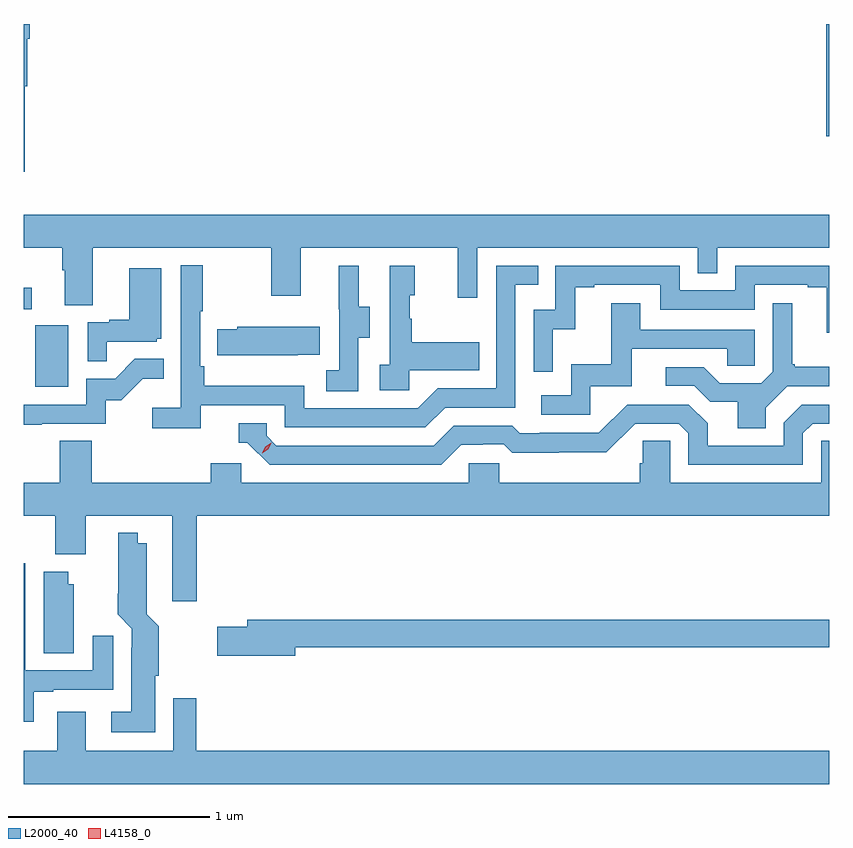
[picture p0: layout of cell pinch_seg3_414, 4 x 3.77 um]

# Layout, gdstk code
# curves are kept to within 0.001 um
import gdstk
lib = gdstk.Library(unit=1e-6, precision=1e-09)
def R(c, l, rs):  # rectangles x0, y0, x1, y1
    for r in rs: c.add(gdstk.rectangle(r[:2], r[2:], *l))
def P(c, l, *ps):  # polygons
    for p in ps: c.add(gdstk.Polygon(p, *l))
L2000_40 = (2000, 40)
L4158_0 = (4158, 0)

pinch_seg3_414 = lib.new_cell('pinch_seg3_414')
R(pinch_seg3_414, L2000_40, [(932.774,701.556,932.938,701.863), (932.718,701.943,932.758,702.049), (936.704,702.801,936.718,703.359)])
P(pinch_seg3_414, L2000_40, [(932.722,703.05),(932.734,703.05),(932.734,703.286),(932.747,703.286),(932.747,703.359),(932.718,703.359),(932.718,702.624),(932.722,702.624)],
  [(933.061,702.248),(933.946,702.248),(933.946,702.009),(934.093,702.009),(934.093,702.248),(934.874,702.248),(934.874,702),(934.971,702),(934.971,702.248),(936.066,702.248),(936.066,702.121),(936.162,702.121),(936.162,702.248),(936.718,702.248),(936.718,702.412),(932.718,702.412),(932.718,702.248),(932.909,702.248),(932.909,702.136),(932.921,702.136),(932.921,701.962),(933.061,701.962)],
  [(933.596,701.466),(934.014,701.466),(934.014,701.355),(934.711,701.355),(934.81,701.454),(935.16,701.454),(935.16,702.063),(935.273,702.063),(935.273,702.159),(935.064,702.159),(935.064,701.55),(934.773,701.55),(934.674,701.451),(934.11,701.451),(934.11,701.563),(933.614,701.563),(933.614,701.659),(933.594,701.659),(933.594,701.932),(933.607,701.932),(933.607,702.16),(933.498,702.16),(933.498,701.452),(933.357,701.452),(933.357,701.35),(933.596,701.35)],
  [(935.346,701.843),(935.456,701.843),(935.456,702.051),(935.551,702.051),(935.551,702.063),(935.88,702.063),(935.88,701.94),(936.348,701.94),(936.348,702.063),(936.611,702.063),(936.611,702.051),(936.707,702.051),(936.707,701.825),(936.718,701.825),(936.718,702.159),(936.252,702.159),(936.252,702.036),(935.976,702.036),(935.976,702.159),(935.358,702.159),(935.358,701.94),(935.25,701.94),(935.25,701.631),(935.346,701.631)],
  [(934.38,701.8),(934.435,701.8),(934.435,701.955),(934.381,701.955),(934.381,702.157),(934.283,702.157),(934.283,701.943),(934.284,701.943),(934.284,701.639),(934.221,701.639),(934.221,701.536),(934.38,701.536)],
  [(934.632,701.639),(934.979,701.639),(934.979,701.779),(934.645,701.779),(934.645,701.894),(934.635,701.894),(934.635,702.012),(934.66,702.012),(934.66,702.157),(934.536,702.157),(934.536,701.666),(934.485,701.666),(934.485,701.541),(934.632,701.541)],
  [(933.131,701.781),(933.378,701.781),(933.378,701.796),(933.4,701.796),(933.4,702.145),(933.242,702.145),(933.242,701.89),(933.143,701.89),(933.143,701.877),(933.036,701.877),(933.036,701.683),(933.131,701.683)],
  [(935.532,701.559),(935.737,701.559),(935.737,701.745),(936.211,701.745),(936.211,701.661),(936.348,701.661),(936.348,701.841),(935.779,701.841),(935.779,701.971),(935.635,701.971),(935.635,701.668),(935.436,701.668),(935.436,701.514),(935.289,701.514),(935.289,701.418),(935.532,701.418)],
  [(936.403,701.452),(936.51,701.559),(936.718,701.559),(936.718,701.656),(936.547,701.656),(936.547,701.668),(936.535,701.668),(936.535,701.971),(936.438,701.971),(936.438,701.631),(936.381,701.574),(936.175,701.574),(936.094,701.655),(935.907,701.655),(935.907,701.562),(936.048,701.562),(936.128,701.482),(936.263,701.482),(936.263,701.35),(936.403,701.35)],
  [(934.079,701.717),(934.187,701.717),(934.187,701.854),(933.777,701.854),(933.777,701.844),(933.679,701.844),(933.679,701.714),(934.079,701.714)],
  [(932.807,701.373),(933.126,701.373),(933.126,701.49),(933.202,701.49),(933.309,701.597),(933.413,701.597),(933.413,701.696),(933.269,701.696),(933.171,701.598),(933.027,701.598),(933.027,701.469),(932.718,701.469),(932.718,701.368),(932.807,701.368)],
  [(934.891,701.268),(934.998,701.268),(934.998,701.271),(935.101,701.271),(935.143,701.229),(935.376,701.229),(935.376,701.231),(935.612,701.231),(935.754,701.373),(935.97,701.373),(936.018,701.325),(936.018,701.169),(936.588,701.169),(936.588,701.325),(936.636,701.373),(936.718,701.373),(936.718,701.469),(936.582,701.469),(936.492,701.379),(936.492,701.265),(936.115,701.265),(936.115,701.375),(936.021,701.469),(935.715,701.469),(935.574,701.328),(935.281,701.328),(935.281,701.325),(935.182,701.325),(935.143,701.364),(934.854,701.364),(934.755,701.265),(933.972,701.265),(933.924,701.313),(933.924,701.376),(933.785,701.376),(933.785,701.28),(933.828,701.28),(933.939,701.169),(934.792,701.169)],
  [(933.578,700.916),(936.718,700.916),(936.718,701.288),(936.678,701.288),(936.678,701.08),(935.928,701.08),(935.928,701.288),(935.791,701.288),(935.791,701.178),(935.777,701.178),(935.777,701.08),(935.079,701.08),(935.079,701.178),(934.929,701.178),(934.929,701.08),(933.798,701.08),(933.798,701.178),(933.647,701.178),(933.647,701.08),(933.056,701.08),(933.056,701.288),(932.896,701.288),(932.896,701.08),(932.718,701.08),(932.718,700.916),(932.873,700.916),(932.873,700.724),(933.025,700.724),(933.025,700.916),(933.455,700.916),(933.455,700.491),(933.578,700.491)],
  [(933.37,700.122),(933.388,700.122),(933.388,700.367),(933.329,700.426),(933.328,700.78),(933.283,700.78),(933.283,700.831),(933.186,700.831),(933.185,700.426),(933.255,700.356),(933.255,700.262),(933.251,700.262),(933.251,699.943),(933.153,699.943),(933.153,699.842),(933.37,699.842)],
  [(932.767,700.041),(932.863,700.041),(932.863,700.053),(933.163,700.053),(933.163,700.321),(933.059,700.321),(933.059,700.149),(932.725,700.149),(932.725,700.681),(932.718,700.681),(932.718,699.894),(932.767,699.894)],
  [(932.965,700.575),(932.938,700.575),(932.938,700.639),(932.816,700.639),(932.816,700.234),(932.965,700.234)],
  [(934.066,700.264),(936.718,700.264),(936.718,700.4),(933.827,700.4),(933.827,700.364),(933.678,700.364),(933.678,700.222),(934.066,700.222)],
  [(936.718,699.748),(933.575,699.748),(933.575,700.009),(933.459,700.009),(933.459,699.748),(933.025,699.748),(933.025,699.943),(932.885,699.943),(932.885,699.748),(932.718,699.748),(932.718,699.584),(936.718,699.584)])
P(pinch_seg3_414, L4158_0, [(933.902,701.226),(933.902,701.226),(933.917,701.259),(933.947,701.28),(933.948,701.28),(933.948,701.279),(933.932,701.246),(933.902,701.226)])

lib.write_gds('pinch_seg3_414.gds')
